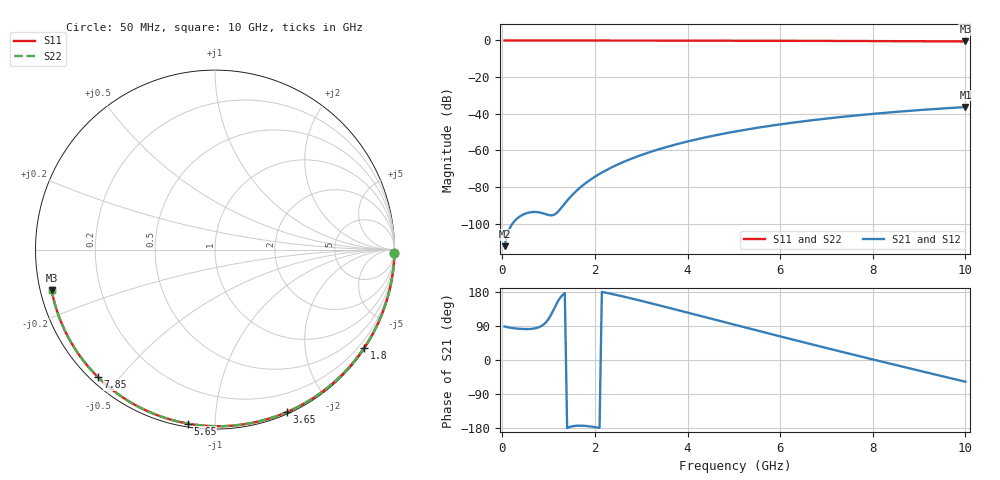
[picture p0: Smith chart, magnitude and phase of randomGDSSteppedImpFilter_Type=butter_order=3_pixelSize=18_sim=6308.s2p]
! freq	dB(S11)	phase(S11)	dB(S12)	phase(S12)
!  dB(S21)	phase(S21)	dB(S22)	phase(S22)
!S-par simulation data
#  GHz  S  DB  R 50
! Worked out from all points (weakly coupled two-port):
!   200 points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, 50 MHz to 10 GHz, reference 50 ohm
!   highest |S21| = -36.35 dB at 10 GHz (marker M1); lowest = -112.3 dB at 50 MHz (marker M2)
!   lowest |S11| = -0.6 dB at 10 GHz (marker M3), VSWR 31.24, Z = 1.62 - j6.12 ohm
!   |S11| at or under -10 dB: nowhere
!   |S22| runs from -0.6 to 0.0 dB; largest |S21 - S12| = 0
!   S11 on the Smith chart (normalised r, x): 50 MHz: open; 1.8 GHz: 0.03, -3.32; 3.65 GHz: 0.02, -1.53; 5.65 GHz: 0.02, -0.86; 7.85 GHz: 0.02, -0.44; 10 GHz: 0.03, -0.12
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0.05  -0.00 -1.0  -112.27 88.3  -112.27 88.3  -0.00 -1.0
0.45  -0.01 -8.5  -95.04 81.8  -95.04 81.8  -0.01 -8.5
0.85  -0.02 -16.0  -94.12 90.1  -94.12 90.1  -0.02 -16.0
1.65  -0.04 -30.8  -80.96 -173.3  -80.96 -173.3  -0.04 -30.8
1.7  -0.04 -31.7  -79.87 -173.3  -79.87 -173.3  -0.04 -31.7
1.75  -0.04 -32.7  -78.84 -173.6  -78.84 -173.6  -0.04 -32.6
1.8  -0.04 -33.6  -77.86 -174.0  -77.86 -174.0  -0.04 -33.6
2.1  -0.05 -39.0  -72.83 -179.2  -72.83 -179.2  -0.05 -39.0
2.5  -0.06 -46.2  -67.61 170.7  -67.61 170.7  -0.06 -46.2
2.9  -0.07 -53.3  -63.46 159.1  -63.46 159.1  -0.07 -53.2
3.4  -0.08 -61.9  -59.24 143.9  -59.24 143.9  -0.08 -61.9
3.65  -0.09 -66.2  -57.42 136.1  -57.42 136.1  -0.09 -66.2
4.3  -0.11 -77.1  -53.38 115.7  -53.38 115.7  -0.11 -77.1
5.05  -0.14 -89.4  -49.61 92.0  -49.61 92.0  -0.14 -89.3
5.65  -0.17 -98.9  -47.10 73.2  -47.10 73.2  -0.17 -98.9
6.15  -0.19 -106.7  -45.28 57.7  -45.28 57.7  -0.19 -106.7
6.7  -0.23 -115.2  -43.51 40.8  -43.51 40.8  -0.23 -115.2
7.25  -0.27 -123.6  -41.94 24.0  -41.94 24.0  -0.27 -123.5
7.85  -0.31 -132.7  -40.43 6.0  -40.43 6.0  -0.31 -132.6
8.35  -0.36 -140.3  -39.31 -8.9  -39.31 -8.9  -0.36 -140.2
9.2  -0.45 -153.3  -37.65 -34.0  -37.65 -34.0  -0.45 -153.3
10  -0.56 -166.0  -36.35 -57.3  -36.35 -57.3  -0.56 -166.0
